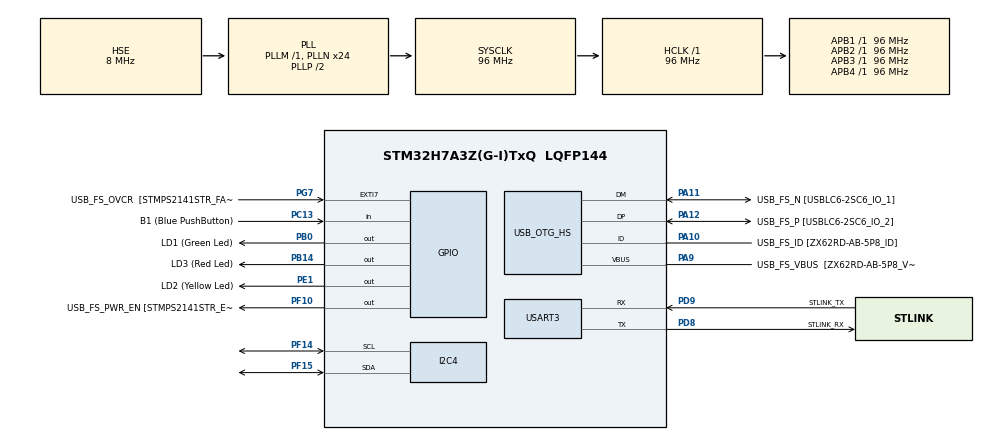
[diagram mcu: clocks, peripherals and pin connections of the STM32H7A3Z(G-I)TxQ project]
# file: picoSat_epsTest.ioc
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I2C4.Timing=0x10B0DCFB
Mcu.Family=STM32H7
Mcu.Name=STM32H7A3Z(G-I)TxQ
Mcu.Package=LQFP144
NVIC.PriorityGroup=NVIC_PRIORITYGROUP_4
PA10.GPIO_Label=USB_FS_ID [ZX62RD-AB-5P8_ID]
PA10.Mode=OTG/Dual-Role-Device-FS
PA10.Signal=USB_OTG_HS_ID
PA11.GPIO_Label=USB_FS_N [USBLC6-2SC6_IO_1]
PA11.Mode=OTG/Dual-Role-Device-FS
PA11.Signal=USB_OTG_HS_DM
PA12.GPIO_Label=USB_FS_P [USBLC6-2SC6_IO_2]
PA12.Mode=OTG/Dual-Role-Device-FS
PA12.Signal=USB_OTG_HS_DP
PA9.GPIO_Label=USB_FS_VBUS  [ZX62RD-AB-5P8_VBUS]
PA9.Mode=Activate_VBUS_FS
PA9.Signal=USB_OTG_HS_VBUS
PB0.GPIO_Label=LD1 (Green Led)
PB0.Signal=GPIO_Output
PB14.GPIO_Label=LD3 (Red Led)
PB14.Signal=GPIO_Output
PC13.GPIO_Label=B1 (Blue PushButton)
PC13.Signal=GPIO_Input
PC14-OSC32_IN.GPIO_Label=OSC32_IN
PC14-OSC32_IN.Mode=LSE-External-Oscillator
PC14-OSC32_IN.Signal=RCC_OSC32_IN
PC15-OSC32_OUT.GPIO_Label=OSC32_OUT
PC15-OSC32_OUT.Mode=LSE-External-Oscillator
PC15-OSC32_OUT.Signal=RCC_OSC32_OUT
PD8.GPIO_Label=STLINK_RX
PD8.Mode=Asynchronous
PD8.Signal=USART3_TX
PD9.GPIO_Label=STLINK_TX
PD9.Mode=Asynchronous
PD9.Signal=USART3_RX
PE1.GPIO_Label=LD2 (Yellow Led)
PE1.Signal=GPIO_Output
PF10.GPIO_Label=USB_FS_PWR_EN [STMPS2141STR_EN]
PF10.Signal=GPIO_Output
PF14.Mode=I2C
PF14.Signal=I2C4_SCL
PF15.Mode=I2C
PF15.Signal=I2C4_SDA
PG7.GPIO_Label=USB_FS_OVCR  [STMPS2141STR_FAULT]
PG7.Signal=GPXTI7
PH0-OSC_IN.GPIO_Label=PH0-MCU
PH0-OSC_IN.Mode=HSE-External-Clock-Source
PH0-OSC_IN.Signal=RCC_OSC_IN
PH1-OSC_OUT.GPIO_Label=PH1-MCU
PH1-OSC_OUT.Signal=RCC_OSC_OUT
ProjectManager.HeapSize=0x200
ProjectManager.StackSize=0x400
ProjectManager.TargetToolchain=STM32CubeIDE
RAMECC.Instance-RAMECC_Monitor1=RAMECC_Monitor1
RAMECC.Instance-RAMECC_Monitor2=RAMECC_Monitor2
RAMECC.Instance-RAMECC_Monitor3=RAMECC_Monitor3
RCC.ADCFreq_Value=16125000
RCC.APB1Freq_Value=96000000
RCC.APB2Freq_Value=96000000
RCC.APB3Freq_Value=96000000
RCC.APB4Freq_Value=96000000
RCC.CortexFreq_Value=96000000
RCC.DIVM1=1
RCC.DIVM3=1
RCC.DIVN1=24
RCC.DIVN3=24
RCC.DIVQ1=4
RCC.HCLKFreq_Value=96000000
RCC.HSE_VALUE=8000000
RCC.PLLFRACN=0
RCC.PLLSourceVirtual=RCC_PLLSOURCE_HSE
RCC.PWR_Regulator_Voltage_Scale=PWR_REGULATOR_VOLTAGE_SCALE0
RCC.SYSCLKFreq_VALUE=96000000
RCC.SYSCLKSource=RCC_SYSCLKSOURCE_PLLCLK
RCC.SupplySource=PWR_DIRECT_SMPS_SUPPLY
RCC.USBCLockSelection=RCC_USBCLKSOURCE_HSI48
RCC.USBFreq_Value=48000000
USART3.VirtualMode-Asynchronous=VM_ASYNC
VP_RAMECC_VS_D1_1.Mode=RAMECC_Monitor1
VP_RAMECC_VS_D1_2.Mode=RAMECC_Monitor2
VP_RAMECC_VS_D1_3.Mode=RAMECC_Monitor3
board=NUCLEO-H7A3ZI-Q

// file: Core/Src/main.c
/* USER CODE BEGIN Header */
/**
  ******************************************************************************
  * @file           : main.c
  * @brief          : Main program body
  ******************************************************************************
  * @attention
  *
  * Copyright (c) 2023 STMicroelectronics.
  * All rights reserved.
  *
  * This software is licensed under terms that can be found in the LICENSE file
  * in the root directory of this software component.
  * If no LICENSE file comes with this software, it is provided AS-IS.
  *
  ******************************************************************************
  */
/* USER CODE END Header */
#include "main.h"
#include "i2c.h"
#include "ramecc.h"
#include "usart.h"
#include "usb_otg.h"
#include "gpio.h"

/* USER CODE BEGIN Includes */
#include "log.h"
#include "string.h"
#include "MAX17048.h"
#include "INA219.h"
/* USER CODE END Includes */

/* USER CODE BEGIN PD */
#define REV16_A(X) (((X) << 8) | ((X)>>8))
/* USER CODE END PD */

void SystemClock_Config(void);

int main(void)
{

  /* MCU Configuration--------------------------------------------------------*/

  /* Reset of all peripherals, Initializes the Flash interface and the Systick. */
  HAL_Init();

  /* Configure the system clock */
  SystemClock_Config();

  /* Initialize all configured peripherals */
  MX_GPIO_Init();
  MX_USART3_UART_Init();
  MX_USB_OTG_HS_USB_Init();
  MX_I2C4_Init();
  MX_RAMECC_Init();
  /* USER CODE BEGIN 2 */
  log_info("Main Init");
  /* USER CODE END 2 */
  uint16_t bat_version = 0;
  if (BSP_I2C4_ReadReg16(MAX17048_I2C_ADDR, MAX17048_VERSION, (uint8_t *)&bat_version, 2) != HAL_OK) {
	  log_error("Error reading from MAX17048");
  }
  if (bat_version & 0x0010) {
	  log_error("Error reading from MAX17048, version: %hu", bat_version);
  }
  else {
	  log_info("Success reading from MAX17048, version: %hu", bat_version);
  }
  /* Infinite loop */
  /* USER CODE BEGIN WHILE */
  while (1)
  {
	uint16_t soc = 0;
	float socf = 0;
	BSP_I2C4_ReadReg16(MAX17048_I2C_ADDR, MAX17048_VERSION, (uint8_t *)&soc, 2);
	soc = REV16_A(soc);
	socf = (float)soc / 256.f;

	log_info("SOC %f", socf);

	uint16_t power = 0;
	int16_t current = 0; //2's compliment
	BSP_I2C4_ReadReg16(INA219_I2C_ADR_LOW, INA219_POWER, (uint8_t *)&power, 2);
	BSP_I2C4_ReadReg16(INA219_I2C_ADR_LOW, INA219_CURRENT, (uint8_t *)&current, 2);
	log_info("Power: %hu mW", power);
	log_info("Current %hi amps", current);
    /* USER CODE END WHILE */

    /* USER CODE BEGIN 3 */
	  HAL_Delay(100);
  }
  /* USER CODE END 3 */
}

void SystemClock_Config(void)
{
  RCC_OscInitTypeDef RCC_OscInitStruct = {0};
  RCC_ClkInitTypeDef RCC_ClkInitStruct = {0};

  /*AXI clock gating */
  RCC->CKGAENR = 0xFFFFFFFF;

  /** Supply configuration update enable
  */
  HAL_PWREx_ConfigSupply(PWR_DIRECT_SMPS_SUPPLY);

  /** Configure the main internal regulator output voltage
  */
  __HAL_PWR_VOLTAGESCALING_CONFIG(PWR_REGULATOR_VOLTAGE_SCALE0);

  while(!__HAL_PWR_GET_FLAG(PWR_FLAG_VOSRDY)) {}

  /** Initializes the RCC Oscillators according to the specified parameters
  * in the RCC_OscInitTypeDef structure.
  */
  RCC_OscInitStruct.OscillatorType = RCC_OSCILLATORTYPE_HSI48|RCC_OSCILLATORTYPE_HSE;
  RCC_OscInitStruct.HSEState = RCC_HSE_BYPASS;
  RCC_OscInitStruct.HSI48State = RCC_HSI48_ON;
  RCC_OscInitStruct.PLL.PLLState = RCC_PLL_ON;
  RCC_OscInitStruct.PLL.PLLSource = RCC_PLLSOURCE_HSE;
  RCC_OscInitStruct.PLL.PLLM = 1;
  RCC_OscInitStruct.PLL.PLLN = 24;
  RCC_OscInitStruct.PLL.PLLP = 2;
  RCC_OscInitStruct.PLL.PLLQ = 4;
  RCC_OscInitStruct.PLL.PLLR = 2;
  RCC_OscInitStruct.PLL.PLLRGE = RCC_PLL1VCIRANGE_3;
  RCC_OscInitStruct.PLL.PLLVCOSEL = RCC_PLL1VCOWIDE;
  RCC_OscInitStruct.PLL.PLLFRACN = 0;
  if (HAL_RCC_OscConfig(&RCC_OscInitStruct) != HAL_OK)
  {
    Error_Handler();
  }

  /** Initializes the CPU, AHB and APB buses clocks
  */
  RCC_ClkInitStruct.ClockType = RCC_CLOCKTYPE_HCLK|RCC_CLOCKTYPE_SYSCLK
                              |RCC_CLOCKTYPE_PCLK1|RCC_CLOCKTYPE_PCLK2
                              |RCC_CLOCKTYPE_D3PCLK1|RCC_CLOCKTYPE_D1PCLK1;
  RCC_ClkInitStruct.SYSCLKSource = RCC_SYSCLKSOURCE_PLLCLK;
  RCC_ClkInitStruct.SYSCLKDivider = RCC_SYSCLK_DIV1;
  RCC_ClkInitStruct.AHBCLKDivider = RCC_HCLK_DIV1;
  RCC_ClkInitStruct.APB3CLKDivider = RCC_APB3_DIV1;
  RCC_ClkInitStruct.APB1CLKDivider = RCC_APB1_DIV1;
  RCC_ClkInitStruct.APB2CLKDivider = RCC_APB2_DIV1;
  RCC_ClkInitStruct.APB4CLKDivider = RCC_APB4_DIV1;

  if (HAL_RCC_ClockConfig(&RCC_ClkInitStruct, FLASH_LATENCY_2) != HAL_OK)
  {
    Error_Handler();
  }
}

void Error_Handler(void)
{
  __disable_irq();
  while (1)
  {
  }
}
